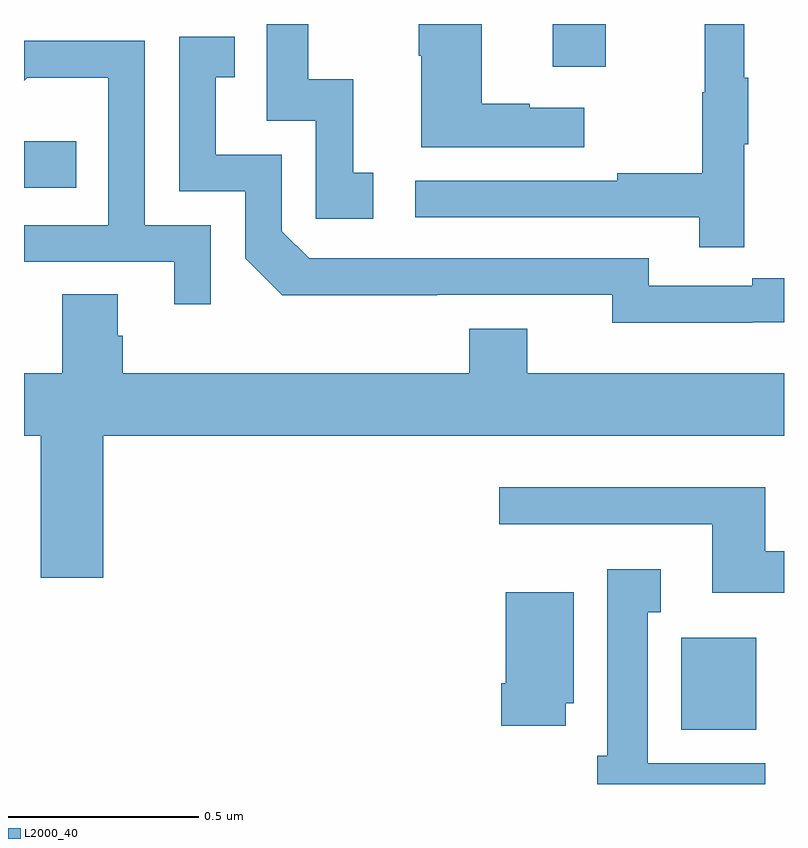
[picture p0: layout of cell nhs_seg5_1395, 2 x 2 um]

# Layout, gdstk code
import gdstk
lib = gdstk.Library(unit=1e-6, precision=1e-09)
def R(c, l, rs):  # rectangles x0, y0, x1, y1
    for r in rs: c.add(gdstk.rectangle(r[:2], r[2:], *l))
def P(c, l, *ps):  # polygons
    for p in ps: c.add(gdstk.Polygon(p, *l))
L2000_40 = (2000, 40)

nhs_seg5_1395 = lib.new_cell('nhs_seg5_1395')
R(nhs_seg5_1395, L2000_40, [(130.73,899.942,130.927,900.184), (129,901.368,129.137,901.491), (130.391,901.686,130.531,901.799)])
P(nhs_seg5_1395, L2000_40, [(129.919,901.407),(129.866,901.407),(129.866,901.654),(129.748,901.654),(129.748,901.799),(129.639,901.799),(129.639,901.545),(129.768,901.545),(129.768,901.287),(129.919,901.287)],
  [(130.895,901.483),(130.906,901.483),(130.906,901.657),(130.895,901.657),(130.895,901.799),(130.792,901.799),(130.792,901.62),(130.785,901.62),(130.785,901.406),(130.561,901.406),(130.561,901.386),(130.029,901.386),(130.029,901.29),(130.777,901.29),(130.777,901.212),(130.895,901.212)],
  [(130.474,901.579),(130.331,901.579),(130.331,901.589),(130.204,901.589),(130.204,901.799),(130.039,901.799),(130.039,901.715),(130.046,901.715),(130.046,901.475),(130.474,901.475)],
  [(130.916,901.014),(131,901.014),(131,901.13),(130.916,901.13),(130.916,901.11),(130.644,901.11),(130.644,901.182),(129.75,901.182),(129.678,901.254),(129.678,901.455),(129.505,901.455),(129.505,901.659),(129.554,901.659),(129.554,901.765),(129.408,901.765),(129.408,901.359),(129.582,901.359),(129.582,901.182),(129.68,901.085),(130.088,901.085),(130.088,901.086),(130.548,901.086),(130.548,901.013),(130.916,901.013)],
  [(129.492,901.269),(129.318,901.269),(129.318,901.755),(129,901.755),(129,901.65),(129.008,901.658),(129.222,901.658),(129.222,901.269),(129,901.269),(129,901.173),(129.395,901.173),(129.395,901.062),(129.492,901.062)],
  [(129.208,900.716),(131,900.716),(131,900.88),(130.324,900.88),(130.324,900.997),(130.172,900.997),(130.172,900.88),(129.26,900.88),(129.26,900.978),(129.247,900.978),(129.247,901.088),(129.1,901.088),(129.1,900.88),(129,900.88),(129,900.716),(129.044,900.716),(129.044,900.342),(129.208,900.342)],
  [(131,900.412),(130.951,900.412),(130.951,900.58),(130.251,900.58),(130.251,900.483),(130.811,900.483),(130.811,900.302),(131,900.302)],
  [(130.951,899.854),(130.642,899.854),(130.642,900.251),(130.675,900.251),(130.675,900.364),(130.535,900.364),(130.535,899.874),(130.508,899.874),(130.508,899.799),(130.951,899.799)],
  [(130.426,900.012),(130.447,900.012),(130.447,900.304),(130.268,900.304),(130.268,900.064),(130.256,900.064),(130.256,899.952),(130.426,899.952)])

lib.write_gds('nhs_seg5_1395.gds')
